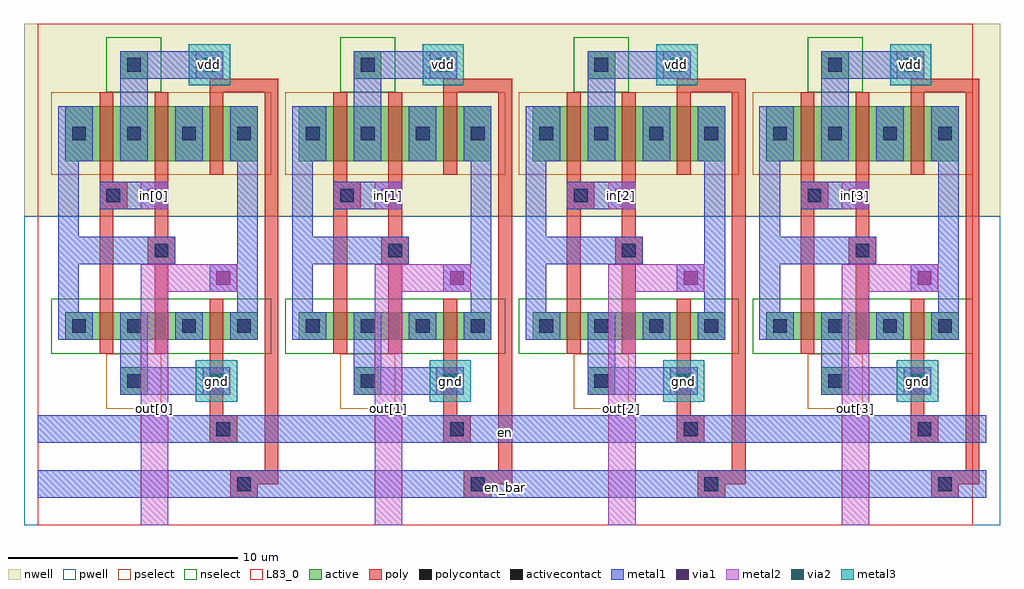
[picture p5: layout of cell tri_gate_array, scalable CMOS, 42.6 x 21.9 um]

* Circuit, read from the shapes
.subckt tri_gate_array en en_bar gnd in[0] in[1] in[2] in[3] out[0] out[1] out[2] out[3] vdd
M1 gnd in[0] n1 gnd nfet w=1.2u l=0.6u
M2 n2 n1 gnd gnd nfet w=1.2u l=0.6u
M3 out[0] en n2 gnd nfet w=1.2u l=0.6u
M4 gnd in[1] n3 gnd nfet w=1.2u l=0.6u
M5 n4 n3 gnd gnd nfet w=1.2u l=0.6u
M6 out[1] en n4 gnd nfet w=1.2u l=0.6u
M7 gnd in[2] n5 gnd nfet w=1.2u l=0.6u
M8 n6 n5 gnd gnd nfet w=1.2u l=0.6u
M9 out[2] en n6 gnd nfet w=1.2u l=0.6u
M10 gnd in[3] n7 gnd nfet w=1.2u l=0.6u
M11 n8 n7 gnd gnd nfet w=1.2u l=0.6u
M12 out[3] en n8 gnd nfet w=1.2u l=0.6u
M13 vdd in[0] n1 vdd pfet w=2.4u l=0.6u
M14 n9 n1 vdd vdd pfet w=2.4u l=0.6u
M15 out[0] en_bar n9 vdd pfet w=2.4u l=0.6u
M16 vdd in[1] n3 vdd pfet w=2.4u l=0.6u
M17 n10 n3 vdd vdd pfet w=2.4u l=0.6u
M18 out[1] en_bar n10 vdd pfet w=2.4u l=0.6u
M19 vdd in[2] n5 vdd pfet w=2.4u l=0.6u
M20 n11 n5 vdd vdd pfet w=2.4u l=0.6u
M21 out[2] en_bar n11 vdd pfet w=2.4u l=0.6u
M22 vdd in[3] n7 vdd pfet w=2.4u l=0.6u
M23 n12 n7 vdd vdd pfet w=2.4u l=0.6u
M24 out[3] en_bar n12 vdd pfet w=2.4u l=0.6u
.ends

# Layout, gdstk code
import gdstk
lib = gdstk.Library(unit=1e-6, precision=1e-09)
def R(c, l, rs):  # rectangles x0, y0, x1, y1
    for r in rs: c.add(gdstk.rectangle(r[:2], r[2:], *l))
def A(c, l, x, y, w, h, nx, ny, dx, dy):  # array of equal rectangles
    R(c, l, [(x+i*dx, y+j*dy, x+i*dx+w, y+j*dy+h) for i in range(nx) for j in range(ny)])
pwell = (41, 0)
nwell = (42, 0)
active = (43, 0)
pselect = (44, 0)
nselect = (45, 0)
poly = (46, 0)
polycontact = (47, 0)
activecontact = (48, 0)
metal1 = (49, 0)
via1 = (50, 0)
metal2 = (51, 0)
via2 = (61, 0)
metal3 = (62, 0)
L83_0 = (83, 0)

tri_gate = lib.new_cell('tri_gate')
R(tri_gate, pwell, [(-0.6,0,11.4,13.5)])
R(tri_gate, nwell, [(-0.6,13.5,11.4,21.9)])
R(tri_gate, active, [(3.6,5.7,4.8,6.9), (1.2,8.1,9.6,9.3), (1.2,15.9,9.6,18.3), (3.6,19.5,4.8,20.7)])
R(tri_gate, pselect, [(3,5.1,5.4,7.5), (0.6,15.3,10.2,18.9)])
R(tri_gate, nselect, [(0.6,7.5,10.2,9.9), (3,18.9,5.4,21.3)])
R(tri_gate, poly, [(8.4,1.2,9.6,1.8), (8.4,1.8,10.5,2.4), (9.9,2.4,10.5,18.9), (7.5,3.6,8.7,4.8), (7.5,4.8,8.1,9.9), (2.7,7.5,3.3,13.8), (5.1,7.5,5.7,11.4), (4.8,11.4,6,12.6), (5.1,12.6,5.7,18.9), (2.7,13.8,3.9,15), (2.7,15,3.3,18.9), (7.5,15.3,8.1,18.9), (7.5,18.9,10.5,19.5)])
R(tri_gate, polycontact, [(8.7,1.5,9.3,2.1), (7.8,3.9,8.4,4.5), (5.1,11.7,5.7,12.3), (3,14.1,3.6,14.7)])
A(tri_gate, activecontact, 1.5, 8.4, 0.6, 0.6, 4, 2, 2.4, 8.4)
R(tri_gate, activecontact, [(3.9,6,4.5,6.6), (3.9,19.8,4.5,20.4)])
R(tri_gate, metal1, [(0,1.2,10.8,2.4), (0,1.2,10.8,2.4), (0,3.6,10.8,4.8), (0,3.6,10.8,4.8), (3.6,5.7,8.4,6.9), (3.6,6.9,4.8,9.3), (0.9,8.1,2.4,9.3), (6,8.1,7.2,9.3), (8.4,8.1,9.6,9.3), (0.9,9.3,1.8,11.4), (8.7,9.3,9.6,10.2), (7.5,10.2,9.6,11.4), (0.9,11.4,6,12.6), (8.7,11.4,9.6,15.9), (0.9,12.6,1.8,15.9), (2.7,13.8,5.7,15), (0.9,15.9,2.4,18.3), (3.6,15.9,4.8,19.5), (6,15.9,7.2,18.3), (8.4,15.9,9.6,18.3), (3.6,19.5,8.1,20.7)])
R(tri_gate, via1, [(7.5,6,8.1,6.6), (7.8,10.5,8.4,11.1), (4.8,14.1,5.4,14.7), (7.2,19.8,7.8,20.4)])
R(tri_gate, metal2, [(4.5,0,5.7,10.2), (4.5,0,5.7,10.2), (7.2,5.7,8.4,6.9), (7.2,5.7,8.4,6.9), (4.5,10.2,8.7,11.4), (4.5,13.8,5.7,15), (4.5,13.8,5.7,15), (6.9,19.5,8.1,20.7), (6.9,19.5,8.1,20.7)])
R(tri_gate, L83_0, [(0,0,10.2,21.9)])
tri_gate.add(gdstk.Label('en', (0,3.6), layer=49, texttype=0))
tri_gate.add(gdstk.Label('en_bar', (0,1.2), layer=49, texttype=0))
tri_gate.add(gdstk.Label('out', (4.8,0.3), layer=51, texttype=0))
tri_gate.add(gdstk.Label('gnd', (7.8,6.3), layer=51, texttype=0))
tri_gate.add(gdstk.Label('vdd', (7.5,20.1), layer=51, texttype=0))
tri_gate.add(gdstk.Label('in', (5.1,14.4), layer=51, texttype=0))
tri_gate.add(gdstk.Label('in', (5.1,14.4), layer=51, texttype=0))
tri_gate.add(gdstk.Label('en', (5.4,4.2), layer=49, texttype=0))
tri_gate.add(gdstk.Label('en_bar', (5.4,1.8), layer=49, texttype=0))
tri_gate.add(gdstk.Label('out', (5.1,5.1), layer=51, texttype=0))
tri_gate.add(gdstk.Label('gnd', (7.8,6.3), layer=51, texttype=0))
tri_gate.add(gdstk.Label('vdd', (7.5,20.1), layer=51, texttype=0))

metal2_via2_metal3_1x1 = lib.new_cell('metal2_via2_metal3_1x1')
R(metal2_via2_metal3_1x1, metal2, [(0.3,0.3,1.5,1.5)])
R(metal2_via2_metal3_1x1, via2, [(0.6,0.6,1.2,1.2)])
R(metal2_via2_metal3_1x1, metal3, [(0,0,1.8,1.8)])

tri_gate_array = lib.new_cell('tri_gate_array')
R(tri_gate_array, metal1, [(0,1.2,40.8,2.1), (0,3.6,40.8,4.5)])
A(tri_gate_array, metal2, 4.5, 0, 1.2, 10.2, 4, 1, 10.2, 0)
A(tri_gate_array, metal2, 4.5, 13.8, 1.2, 1.2, 4, 1, 10.2, 0)
A(tri_gate_array, metal3, 7.05, 5.55, 1.5, 1.5, 4, 1, 10.2, 0)
A(tri_gate_array, metal3, 6.75, 19.35, 1.5, 1.5, 4, 1, 10.2, 0)
tri_gate_array.add(gdstk.Reference(tri_gate, (0,0)))
tri_gate_array.add(gdstk.Reference(tri_gate, (10.2,0)))
tri_gate_array.add(gdstk.Reference(tri_gate, (20.4,0)))
tri_gate_array.add(gdstk.Reference(tri_gate, (30.6,0)))
tri_gate_array.add(gdstk.Reference(metal2_via2_metal3_1x1, (6.6,19.2)))
tri_gate_array.add(gdstk.Reference(metal2_via2_metal3_1x1, (6.9,5.4)))
tri_gate_array.add(gdstk.Reference(metal2_via2_metal3_1x1, (16.8,19.2)))
tri_gate_array.add(gdstk.Reference(metal2_via2_metal3_1x1, (17.1,5.4)))
tri_gate_array.add(gdstk.Reference(metal2_via2_metal3_1x1, (27,19.2)))
tri_gate_array.add(gdstk.Reference(metal2_via2_metal3_1x1, (27.3,5.4)))
tri_gate_array.add(gdstk.Reference(metal2_via2_metal3_1x1, (37.2,19.2)))
tri_gate_array.add(gdstk.Reference(metal2_via2_metal3_1x1, (37.5,5.4)))
tri_gate_array.add(gdstk.Label('in[0]', (5.1,14.4), layer=51, texttype=0))
tri_gate_array.add(gdstk.Label('out[0]', (5.1,5.1), layer=51, texttype=0))
tri_gate_array.add(gdstk.Label('vdd', (7.5,20.1), layer=62, texttype=0))
tri_gate_array.add(gdstk.Label('vdd', (17.7,20.1), layer=62, texttype=0))
tri_gate_array.add(gdstk.Label('vdd', (27.9,20.1), layer=62, texttype=0))
tri_gate_array.add(gdstk.Label('vdd', (38.1,20.1), layer=62, texttype=0))
tri_gate_array.add(gdstk.Label('gnd', (7.8,6.3), layer=62, texttype=0))
tri_gate_array.add(gdstk.Label('gnd', (18,6.3), layer=62, texttype=0))
tri_gate_array.add(gdstk.Label('gnd', (28.2,6.3), layer=62, texttype=0))
tri_gate_array.add(gdstk.Label('gnd', (38.4,6.3), layer=62, texttype=0))
tri_gate_array.add(gdstk.Label('in[1]', (15.3,14.4), layer=51, texttype=0))
tri_gate_array.add(gdstk.Label('out[1]', (15.3,5.1), layer=51, texttype=0))
tri_gate_array.add(gdstk.Label('in[2]', (25.5,14.4), layer=51, texttype=0))
tri_gate_array.add(gdstk.Label('out[2]', (25.5,5.1), layer=51, texttype=0))
tri_gate_array.add(gdstk.Label('in[3]', (35.7,14.4), layer=51, texttype=0))
tri_gate_array.add(gdstk.Label('out[3]', (35.7,5.1), layer=51, texttype=0))
tri_gate_array.add(gdstk.Label('en', (20.4,4.05), layer=49, texttype=0))
tri_gate_array.add(gdstk.Label('en_bar', (20.4,1.65), layer=49, texttype=0))

lib.write_gds('tri_gate_array.gds')
